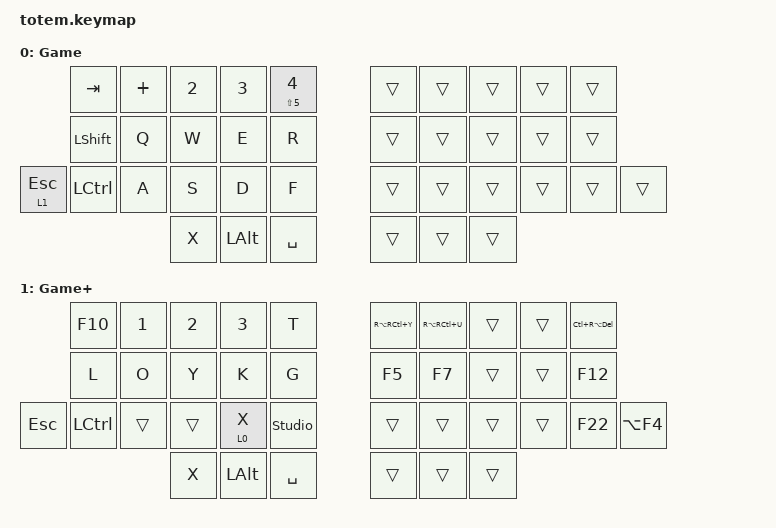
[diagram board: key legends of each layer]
//
//                                                        ▀▀▀▀▀     ▀▀▀▀▀          ▀▀█▀▀
//                                                        ▄▀▀▀▄  ▄  ▄▀▀▀▄  ▄  ▄▀▀▀▄  █  ▄▀▀▀▄
//                                                        █   █  █  █   █  █  █   █  █  █   █
//                                                         ▀▀▀   █   ▀▀▀   █   ▀▀▀   ▀   ▀▀▀
//                                                               █      ▄▄▄█▄▄▄    █   █  
//                                                               ▀      █  █  █     █▄█
//                                                             ▀▀▀▀▀    █  █  █      ▀
//                                                                      ▀  ▀  ▀
//
// ▄▄▄▄▄▄▄▄▄▄▄▄▄▄▄▄▄▄▄▄▄▄▄▄▄▄▄▄▄▄▄▄▄▄▄▄▄▄▄▄▄▄▄▄▄▄▄▄▄▄▄▄▄▄▄▄▄▄▄▄▄▄▄▄▄▄▄▄▄▄▄▄▄▄▄▄▄▄▄▄▄▄▄▄▄▄▄▄▄▄▄▄▄▄▄▄▄▄▄▄▄▄▄▄▄▄▄▄▄▄▄▄▄▄▄▄▄▄▄▄▄▄▄▄▄▄▄▄▄▄▄▄▄▄▄▄▄▄▄▄▄▄▄▄▄▄▄▄▄

#include <behaviors.dtsi>
#include <dt-bindings/zmk/keys.h>

#define Base        0
#define Nav         1
#define Sym         2
#define Fun         3
#define Game        4
#define Gameplus    5

&mt {
    quick-tap-ms = <100>;
    global-quick-tap;
    flavor = "tap-preferred";
    tapping-term-ms = <170>;
};

&lt {
    tapping-term-ms = <240>;
    flavor = "balanced";
    quick-tap-ms = <150>;
};

/ {
    behaviors {
        hm: homerow_mods {
            compatible = "zmk,behavior-hold-tap";
            label = "HOMEROW_MODS";
            #binding-cells = <2>;
            flavor = "tap-preferred";
            tapping-term-ms = <200>;
            quick-tap-ms = <125>;
            global-quick-tap;
            bindings = <&kp>, <&kp>;
        };
    };

    combos { compatible = "zmk,combos"; };

    keymap {
        compatible = "zmk,keymap";

        Gaming {
            display-name = "Game";
            bindings = <
              &kp TAB         &kp PLUS  &kp N2  &kp N3        &mt LS(N5) N4    &trans  &trans  &trans  &trans  &trans
              &kp LEFT_SHIFT  &kp Q     &kp W   &kp E         &kp R            &trans  &trans  &trans  &trans  &trans
&lt 1 ESCAPE  &kp LCTRL       &kp A     &kp S   &kp D         &kp F            &trans  &trans  &trans  &trans  &trans  &trans
                                        &kp X   &kp LEFT_ALT  &kp SPACE        &trans  &trans  &trans
            >;
        };

        Gaming+ {
            display-name = "Game+";
            bindings = <
            &kp F10    &kp NUMBER_1  &kp NUMBER_2  &kp NUMBER_3  &kp T             &kp RA(RC(Y))  &kp RA(RC(U))  &trans  &trans  &kp LC(RA(DEL))
            &kp L      &kp O         &kp Y         &kp K         &kp G             &kp F5         &kp F7         &trans  &trans  &kp F12
&kp ESCAPE  &kp LCTRL  &trans        &trans        &lt 0 X       &studio_unlock    &trans         &trans         &trans  &trans  &kp F22          &kp LA(F4)
                                     &kp X         &kp LEFT_ALT  &kp SPACE         &trans         &trans         &trans
            >;
        };
    };
};
